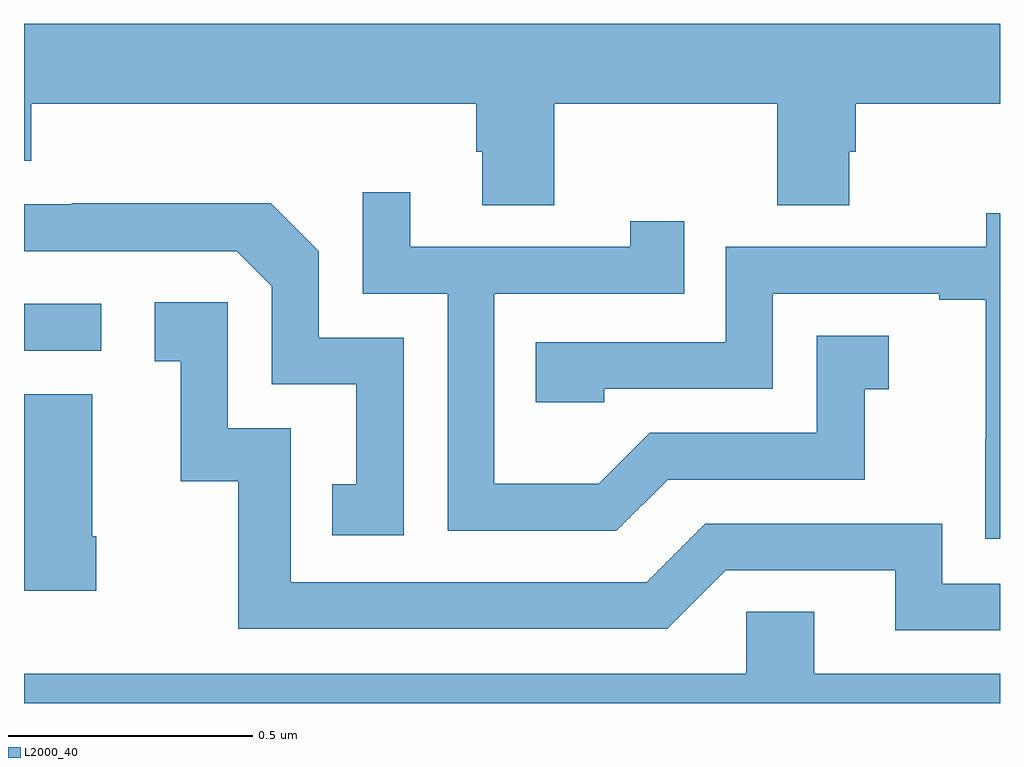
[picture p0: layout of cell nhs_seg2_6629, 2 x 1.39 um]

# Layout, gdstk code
import gdstk
lib = gdstk.Library(unit=1e-6, precision=1e-09)
def R(c, l, rs):  # rectangles x0, y0, x1, y1
    for r in rs: c.add(gdstk.rectangle(r[:2], r[2:], *l))
def P(c, l, *ps):  # polygons
    for p in ps: c.add(gdstk.Polygon(p, *l))
L2000_40 = (2000, 40)

nhs_seg2_6629 = lib.new_cell('nhs_seg2_6629')
R(nhs_seg2_6629, L2000_40, [(194,588.522,194.158,588.618)])
P(nhs_seg2_6629, L2000_40, [(195.087,589.028),(195.544,589.028),(195.544,588.82),(195.691,588.82),(195.691,588.93),(195.704,588.93),(195.704,589.028),(196,589.028),(196,589.192),(194,589.192),(194,588.911),(194.015,588.911),(194.015,589.028),(194.927,589.028),(194.927,588.93),(194.939,588.93),(194.939,588.82),(195.087,588.82)],
  [(195.319,588.258),(195.723,588.258),(195.723,588.443),(195.772,588.443),(195.772,588.553),(195.624,588.553),(195.624,588.354),(195.282,588.354),(195.178,588.25),(194.964,588.25),(194.964,588.639),(195.353,588.639),(195.353,588.787),(195.242,588.787),(195.242,588.735),(194.791,588.735),(194.791,588.847),(194.694,588.847),(194.694,588.639),(194.868,588.639),(194.868,588.153),(195.214,588.153)],
  [(194.778,588.549),(194.604,588.549),(194.604,588.726),(194.506,588.824),(194.098,588.824),(194.098,588.822),(194,588.822),(194,588.726),(194.436,588.726),(194.508,588.654),(194.508,588.453),(194.681,588.453),(194.681,588.249),(194.632,588.249),(194.632,588.144),(194.778,588.144)],
  [(196,588.804),(195.972,588.804),(195.972,588.735),(195.438,588.735),(195.438,588.54),(195.049,588.54),(195.049,588.417),(195.189,588.417),(195.189,588.444),(195.534,588.444),(195.534,588.639),(195.875,588.639),(195.875,588.627),(195.971,588.627),(195.971,588.343),(195.97,588.343),(195.97,588.137),(196,588.137)],
  [(196,588.045),(195.882,588.045),(195.882,588.168),(195.396,588.168),(195.276,588.048),(194.547,588.048),(194.547,588.363),(194.418,588.363),(194.418,588.622),(194.268,588.622),(194.268,588.501),(194.321,588.501),(194.321,588.255),(194.439,588.255),(194.439,587.952),(195.318,587.952),(195.438,588.072),(195.785,588.072),(195.785,587.949),(196,587.949)],
  [(194.148,588.142),(194.14,588.142),(194.14,588.433),(194,588.433),(194,588.03),(194.148,588.03)],
  [(196,587.86),(195.619,587.86),(195.619,587.987),(195.48,587.987),(195.48,587.86),(194,587.86),(194,587.8),(196,587.8)])

lib.write_gds('nhs_seg2_6629.gds')
